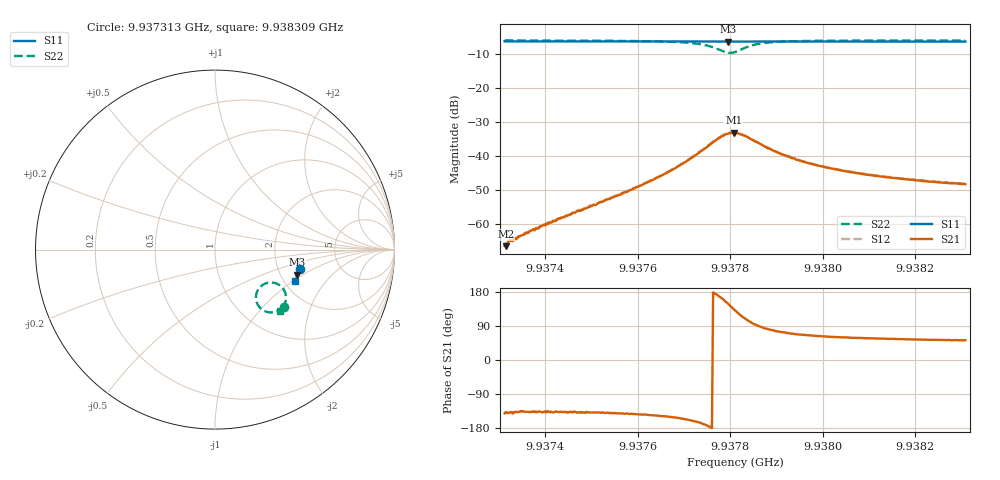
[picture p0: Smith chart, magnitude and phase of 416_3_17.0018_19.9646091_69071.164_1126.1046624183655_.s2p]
#  HZ  S  RI  R  50.00
! Rohde & Schwarz Vector Network Analyzer
! Rohde-Schwarz,ZNB20-2Port,1311601062101988,3.16
! Created: UTC 3/20/2024, 11:10:46 PM
! freq[Hz]  re:S11  im:S11  re:S21  im:S21  re:S12  im:S12  re:S22  im:S22
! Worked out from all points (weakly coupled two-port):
!   401 points, 9.937313 GHz to 9.938309 GHz, reference 50 ohm
!   highest |S21| = -33.27 dB at 9.937808 GHz (marker M1); lowest = -66.7 dB at 9.937315 GHz (marker M2)
!   lowest |S11| = -6.4 dB at 9.937796 GHz (marker M3), VSWR 2.84, Z = 123 - j44.7 ohm
!   |S11| at or under -10 dB: nowhere
!   |S22| runs from -9.7 to -6.1 dB; largest |S21 - S12| = 0.00085
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9.9373125e9  0.4711 -0.1091  -0.000361 -0.000295  -0.000396 -0.000336  0.3834 -0.3178
9.937315e9  0.4709 -0.1093  -0.000342 -0.000314  -0.000366 -0.00034  0.3832 -0.3179
9.9373225e9  0.4708 -0.11  -0.000432 -0.000366  -0.000426 -0.000386  0.3826 -0.3184
9.9373499e9  0.4702 -0.1118  -0.000484 -0.000461  -0.000516 -0.000468  0.3805 -0.3203
9.9373698e9  0.4697 -0.1132  -0.000579 -0.000524  -0.00058 -0.000548  0.3786 -0.322
9.9374047e9  0.469 -0.1154  -0.00071 -0.000716  -0.000755 -0.000697  0.3758 -0.3244
9.9374794e9  0.4674 -0.1205  -0.00116 -0.00107  -0.00124 -0.00103  0.3682 -0.3305
9.9375615e9  0.4657 -0.1261  -0.00206 -0.0017  -0.00214 -0.00169  0.3563 -0.3382
9.9376462e9  0.4635 -0.1317  -0.00411 -0.00265  -0.00419 -0.0026  0.3348 -0.3471
9.937696e9  0.4621 -0.1351  -0.0068 -0.0032  -0.00694 -0.00316  0.3105 -0.3502
9.9377433e9  0.4603 -0.1381  -0.0122 -0.00219  -0.0125 -0.00194  0.2665 -0.3366
9.9377782e9  0.4586 -0.1398  -0.0179 0.00437  -0.0183 0.00489  0.2289 -0.2777
9.9377956e9  0.458 -0.1401  -0.018 0.011  -0.018 0.0118  0.2391 -0.2253
9.9378081e9  0.4581 -0.1403  -0.0151 0.0156  -0.0148 0.0163  0.2687 -0.1949
9.9378106e9  0.458 -0.1403  -0.0142 0.0163  -0.0139 0.017  0.2764 -0.191
9.937833e9  0.4583 -0.1414  -0.00621 0.0184  -0.00561 0.0188  0.3417 -0.1886
9.9378628e9  0.4584 -0.1435  0.00022 0.0152  0.000582 0.0152  0.3844 -0.2253
9.9379151e9  0.4577 -0.1474  0.00303 0.00997  0.00322 0.00984  0.3955 -0.2725
9.9379774e9  0.4561 -0.1518  0.00321 0.00677  0.00339 0.0068  0.3896 -0.2993
9.9380421e9  0.4545 -0.1562  0.00302 0.00518  0.00316 0.00519  0.3824 -0.3142
9.9381442e9  0.4518 -0.1629  0.00269 0.00394  0.00279 0.00395  0.3729 -0.3282
9.9383086e9  0.4473 -0.1734  0.00233 0.003  0.00243 0.003  0.3602 -0.3426
